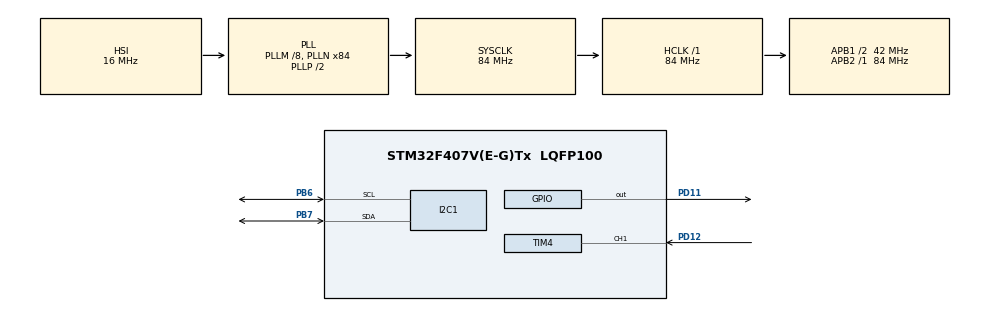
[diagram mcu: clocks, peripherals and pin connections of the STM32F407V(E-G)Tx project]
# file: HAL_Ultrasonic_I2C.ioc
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Mcu.Family=STM32F4
Mcu.Name=STM32F407V(E-G)Tx
Mcu.Package=LQFP100
NVIC.PriorityGroup=NVIC_PRIORITYGROUP_0
NVIC.TIM4_IRQn=true\:0\:0\:false\:false\:true\:true\:true\:true
PB6.Mode=I2C
PB6.Signal=I2C1_SCL
PB7.Mode=I2C
PB7.Signal=I2C1_SDA
PD11.Signal=GPIO_Output
PD12.Signal=S_TIM4_CH1
ProjectManager.HeapSize=0x200
ProjectManager.StackSize=0x400
ProjectManager.TargetToolchain=STM32CubeIDE
RCC.48MHZClocksFreq_Value=24000000
RCC.AHBFreq_Value=84000000
RCC.APB1CLKDivider=RCC_HCLK_DIV2
RCC.APB1Freq_Value=42000000
RCC.APB1TimFreq_Value=84000000
RCC.APB2Freq_Value=84000000
RCC.APB2TimFreq_Value=84000000
RCC.CortexFreq_Value=84000000
RCC.HCLKFreq_Value=84000000
RCC.HSE_VALUE=8000000
RCC.HSI_VALUE=16000000
RCC.LSE_VALUE=32768
RCC.PLLM=8
RCC.PLLN=84
RCC.PLLQ=7
RCC.SYSCLKFreq_VALUE=84000000
RCC.SYSCLKSource=RCC_SYSCLKSOURCE_PLLCLK
RCC.VCOOutputFreq_Value=168000000
SH.S_TIM4_CH1.0=TIM4_CH1,Input_Capture1_from_TI1
TIM4.AutoReloadPreload=TIM_AUTORELOAD_PRELOAD_ENABLE
TIM4.Channel-Input_Capture1_from_TI1=TIM_CHANNEL_1
TIM4.Prescaler=84-1
VP_TIM4_VS_ClockSourceINT.Mode=Internal
board=STM32F407G-DISC1

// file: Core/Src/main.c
/* USER CODE BEGIN Header */
/**
  ******************************************************************************
  * @file           : main.c
  * @brief          : Main program body
  ******************************************************************************
  * @attention
  * author name = "chetna sahu";
  * Copyright (c) 2024 STMicroelectronics.
  * All rights reserved.
  *
  * This software is licensed under terms that can be found in the LICENSE file
  * in the root directory of this software component.
  * If no LICENSE file comes with this software, it is provided AS-IS.
  *
  ******************************************************************************
  */
/* USER CODE END Header */
#include "main.h"

/* USER CODE BEGIN Includes */
#include "lcd16x2_i2c.h"
#include <stdio.h>
#include <string.h>
/* USER CODE END Includes */

/* USER CODE BEGIN PD */
#define ULTRASONIC_TRIGGER_PORT		GPIOD
#define ULTRASONIC_TRIGGER_PIN		GPIO_PIN_11
#define ULTRASONIC_ECHO_PIN_IC		&htim4			//GPIO_PIN_12
/* USER CODE END PD */

I2C_HandleTypeDef hi2c1;

TIM_HandleTypeDef htim4;

/* USER CODE BEGIN PV */
uint16_t distance = 0;
uint8_t isReadingFinished = 0;
uint8_t isRisingCaptured = 0;
uint32_t InputCaptureValue_1 = 0;
uint32_t InputCaptureValue_2 = 0;
uint32_t InputCaptureDifference = 0;

/* USER CODE END PV */

void SystemClock_Config(void);
static void MX_GPIO_Init(void);
static void MX_I2C1_Init(void);
static void MX_TIM4_Init(void);

/* USER CODE BEGIN 0 */

void Ultrasonic_distance(void)
{
	//Send Trigger Signal to ultrasonic trigger pin
	HAL_GPIO_WritePin(ULTRASONIC_TRIGGER_PORT, ULTRASONIC_TRIGGER_PIN, GPIO_PIN_SET);
	HAL_Delay(10);
	HAL_GPIO_WritePin(ULTRASONIC_TRIGGER_PORT, ULTRASONIC_TRIGGER_PIN, GPIO_PIN_RESET);
	//Enable Timer counter
	__HAL_TIM_ENABLE_IT(ULTRASONIC_ECHO_PIN_IC, TIM_IT_CC1);
}

void HAL_TIM_IC_CaptureCallback(TIM_HandleTypeDef *htim)
{
	//Capture Rising Edge
	if(isRisingCaptured == 0)
	{
		InputCaptureValue_1 = HAL_TIM_ReadCapturedValue(&htim4, TIM_CHANNEL_1);
		isRisingCaptured = 1;
		__HAL_TIM_SET_CAPTUREPOLARITY(&htim4, TIM_CHANNEL_1, TIM_INPUTCHANNELPOLARITY_FALLING);
	}
	//Capture Falling Edge
	else if(isRisingCaptured == 1)
	{
		InputCaptureValue_2 = HAL_TIM_ReadCapturedValue(&htim4, TIM_CHANNEL_1);
		__HAL_TIM_SET_COUNTER(&htim4, 0);

		if(InputCaptureValue_2 > InputCaptureValue_1)
		{
			InputCaptureDifference = InputCaptureValue_2 - InputCaptureValue_1;
		}
		else if(InputCaptureValue_1 > InputCaptureValue_2)
		{
			InputCaptureDifference = (0xFFFF - InputCaptureValue_1) + InputCaptureValue_2;
		}

		distance = InputCaptureDifference * 0.0173;

		isReadingFinished = 1;

		isRisingCaptured = 0;

		__HAL_TIM_SET_CAPTUREPOLARITY(&htim4, TIM_CHANNEL_1, TIM_INPUTCHANNELPOLARITY_RISING);
		__HAL_TIM_DISABLE_IT(&htim4, TIM_IT_CC1);

	}

}

/* USER CODE END 0 */

int main(void)
{

  /* USER CODE BEGIN 1 */
	char str[64];
  /* USER CODE END 1 */

  /* MCU Configuration--------------------------------------------------------*/

  /* Reset of all peripherals, Initializes the Flash interface and the Systick. */
  HAL_Init();

  /* Configure the system clock */
  SystemClock_Config();

  /* Initialize all configured peripherals */
  MX_GPIO_Init();
  MX_I2C1_Init();
  MX_TIM4_Init();
  /* USER CODE BEGIN 2 */
  HAL_TIM_IC_Start_IT(&htim4, TIM_CHANNEL_1);
  /* USER CODE END 2 */

  /* Infinite loop */
  while (1)
  {

    /* USER CODE BEGIN 3 */
	int ret = lcd16x2_i2c_init(&hi2c1);
	Ultrasonic_distance();
	sprintf(str, "Distance : %d cms \r \n", distance);
	if(ret)
	{
		lcd16x2_i2c_setCursor(0, 0);
		lcd16x2_i2c_printf(str);
	}
	HAL_Delay(1000);
  }
  /* USER CODE END 3 */
}

void SystemClock_Config(void)
{
  RCC_OscInitTypeDef RCC_OscInitStruct = {0};
  RCC_ClkInitTypeDef RCC_ClkInitStruct = {0};

  /** Configure the main internal regulator output voltage
  */
  __HAL_RCC_PWR_CLK_ENABLE();
  __HAL_PWR_VOLTAGESCALING_CONFIG(PWR_REGULATOR_VOLTAGE_SCALE1);

  /** Initializes the RCC Oscillators according to the specified parameters
  * in the RCC_OscInitTypeDef structure.
  */
  RCC_OscInitStruct.OscillatorType = RCC_OSCILLATORTYPE_HSI;
  RCC_OscInitStruct.HSIState = RCC_HSI_ON;
  RCC_OscInitStruct.HSICalibrationValue = RCC_HSICALIBRATION_DEFAULT;
  RCC_OscInitStruct.PLL.PLLState = RCC_PLL_ON;
  RCC_OscInitStruct.PLL.PLLSource = RCC_PLLSOURCE_HSI;
  RCC_OscInitStruct.PLL.PLLM = 8;
  RCC_OscInitStruct.PLL.PLLN = 84;
  RCC_OscInitStruct.PLL.PLLP = RCC_PLLP_DIV2;
  RCC_OscInitStruct.PLL.PLLQ = 7;
  if (HAL_RCC_OscConfig(&RCC_OscInitStruct) != HAL_OK)
  {
    Error_Handler();
  }

  /** Initializes the CPU, AHB and APB buses clocks
  */
  RCC_ClkInitStruct.ClockType = RCC_CLOCKTYPE_HCLK|RCC_CLOCKTYPE_SYSCLK
                              |RCC_CLOCKTYPE_PCLK1|RCC_CLOCKTYPE_PCLK2;
  RCC_ClkInitStruct.SYSCLKSource = RCC_SYSCLKSOURCE_PLLCLK;
  RCC_ClkInitStruct.AHBCLKDivider = RCC_SYSCLK_DIV1;
  RCC_ClkInitStruct.APB1CLKDivider = RCC_HCLK_DIV2;
  RCC_ClkInitStruct.APB2CLKDivider = RCC_HCLK_DIV1;

  if (HAL_RCC_ClockConfig(&RCC_ClkInitStruct, FLASH_LATENCY_2) != HAL_OK)
  {
    Error_Handler();
  }
}

static void MX_I2C1_Init(void)
{

  hi2c1.Instance = I2C1;
  hi2c1.Init.ClockSpeed = 100000;
  hi2c1.Init.DutyCycle = I2C_DUTYCYCLE_2;
  hi2c1.Init.OwnAddress1 = 0;
  hi2c1.Init.AddressingMode = I2C_ADDRESSINGMODE_7BIT;
  hi2c1.Init.DualAddressMode = I2C_DUALADDRESS_DISABLE;
  hi2c1.Init.OwnAddress2 = 0;
  hi2c1.Init.GeneralCallMode = I2C_GENERALCALL_DISABLE;
  hi2c1.Init.NoStretchMode = I2C_NOSTRETCH_DISABLE;
  if (HAL_I2C_Init(&hi2c1) != HAL_OK)
  {
    Error_Handler();
  }

}

static void MX_TIM4_Init(void)
{

  TIM_ClockConfigTypeDef sClockSourceConfig = {0};
  TIM_MasterConfigTypeDef sMasterConfig = {0};
  TIM_IC_InitTypeDef sConfigIC = {0};

  htim4.Instance = TIM4;
  htim4.Init.Prescaler = 84-1;
  htim4.Init.CounterMode = TIM_COUNTERMODE_UP;
  htim4.Init.Period = 65535;
  htim4.Init.ClockDivision = TIM_CLOCKDIVISION_DIV1;
  htim4.Init.AutoReloadPreload = TIM_AUTORELOAD_PRELOAD_ENABLE;
  if (HAL_TIM_Base_Init(&htim4) != HAL_OK)
  {
    Error_Handler();
  }
  sClockSourceConfig.ClockSource = TIM_CLOCKSOURCE_INTERNAL;
  if (HAL_TIM_ConfigClockSource(&htim4, &sClockSourceConfig) != HAL_OK)
  {
    Error_Handler();
  }
  if (HAL_TIM_IC_Init(&htim4) != HAL_OK)
  {
    Error_Handler();
  }
  sMasterConfig.MasterOutputTrigger = TIM_TRGO_RESET;
  sMasterConfig.MasterSlaveMode = TIM_MASTERSLAVEMODE_DISABLE;
  if (HAL_TIMEx_MasterConfigSynchronization(&htim4, &sMasterConfig) != HAL_OK)
  {
    Error_Handler();
  }
  sConfigIC.ICPolarity = TIM_INPUTCHANNELPOLARITY_RISING;
  sConfigIC.ICSelection = TIM_ICSELECTION_DIRECTTI;
  sConfigIC.ICPrescaler = TIM_ICPSC_DIV1;
  sConfigIC.ICFilter = 0;
  if (HAL_TIM_IC_ConfigChannel(&htim4, &sConfigIC, TIM_CHANNEL_1) != HAL_OK)
  {
    Error_Handler();
  }

}

static void MX_GPIO_Init(void)
{
  GPIO_InitTypeDef GPIO_InitStruct = {0};

  /* GPIO Ports Clock Enable */
  __HAL_RCC_GPIOD_CLK_ENABLE();
  __HAL_RCC_GPIOB_CLK_ENABLE();

  /*Configure GPIO pin Output Level */
  HAL_GPIO_WritePin(GPIOD, GPIO_PIN_11, GPIO_PIN_RESET);

  /*Configure GPIO pin : PD11 */
  GPIO_InitStruct.Pin = GPIO_PIN_11;
  GPIO_InitStruct.Mode = GPIO_MODE_OUTPUT_PP;
  GPIO_InitStruct.Pull = GPIO_NOPULL;
  GPIO_InitStruct.Speed = GPIO_SPEED_FREQ_LOW;
  HAL_GPIO_Init(GPIOD, &GPIO_InitStruct);

}

void Error_Handler(void)
{
  __disable_irq();
  while (1)
  {
  }
}
